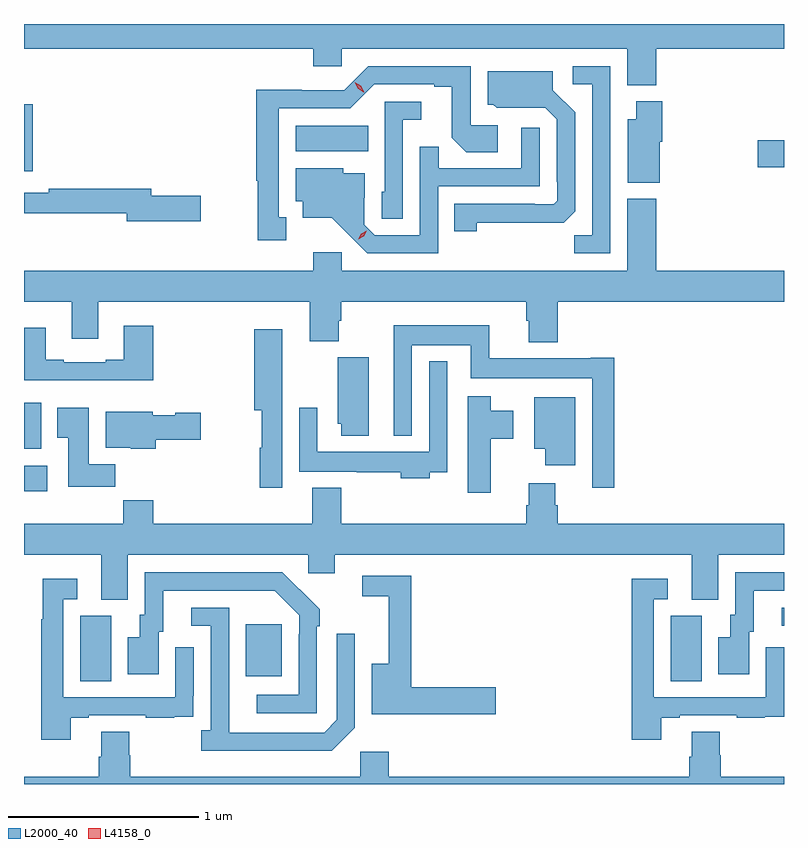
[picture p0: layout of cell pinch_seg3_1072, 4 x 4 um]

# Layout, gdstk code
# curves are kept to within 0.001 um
import gdstk
lib = gdstk.Library(unit=1e-6, precision=1e-09)
def R(c, l, rs):  # rectangles x0, y0, x1, y1
    for r in rs: c.add(gdstk.rectangle(r[:2], r[2:], *l))
def P(c, l, *ps):  # polygons
    for p in ps: c.add(gdstk.Polygon(p, *l))
L2000_40 = (2000, 40)
L4158_0 = (4158, 0)

pinch_seg3_1072 = lib.new_cell('pinch_seg3_1072')
R(pinch_seg3_1072, L2000_40, [(323.162,674.944,323.326,675.288), (326.27,674.944,326.434,675.288), (324.035,674.969,324.223,675.244), (326.856,675.234,326.867,675.33), (322.867,675.944,322.99,676.078), (322.867,676.166,322.957,676.408), (322.867,677.627,322.913,677.98), (326.73,677.648,326.867,677.79), (324.296,677.732,324.68,677.866)])
P(pinch_seg3_1072, L2000_40, [(326.195,678.272),(326.867,678.272),(326.867,678.402),(322.867,678.402),(322.867,678.272),(324.389,678.272),(324.389,678.179),(324.54,678.179),(324.54,678.272),(326.042,678.272),(326.042,678.08),(326.195,678.08)],
  [(325.953,678.18),(325.755,678.18),(325.755,678.084),(325.857,678.084),(325.857,677.291),(325.762,677.291),(325.762,677.196),(325.953,677.196)],
  [(324.247,677.385),(324.208,677.385),(324.208,677.958),(324.585,677.958),(324.711,678.084),(325.025,678.084),(325.025,678.072),(325.119,678.072),(325.119,677.804),(325.195,677.728),(325.36,677.728),(325.36,677.868),(325.218,677.868),(325.218,678.18),(324.678,678.18),(324.552,678.054),(324.33,678.054),(324.33,678.056),(324.09,678.056),(324.09,677.577),(324.097,677.577),(324.097,677.265),(324.247,677.265)],
  [(325.251,677.356),(325.708,677.357),(325.767,677.416),(325.767,677.938),(325.651,678.054),(325.651,678.154),(325.307,678.154),(325.307,677.976),(325.338,677.976),(325.354,677.96),(325.611,677.961),(325.671,677.901),(325.671,677.572),(325.674,677.572),(325.674,677.472),(325.656,677.454),(325.556,677.454),(325.556,677.457),(325.132,677.457),(325.132,677.31),(325.251,677.31)],
  [(326.212,677.781),(326.225,677.781),(326.225,677.995),(326.09,677.995),(326.09,677.902),(326.045,677.902),(326.045,677.567),(326.212,677.567)],
  [(324.861,677.897),(324.958,677.897),(324.958,677.994),(324.765,677.994),(324.765,677.52),(324.75,677.52),(324.75,677.377),(324.861,677.377)],
  [(325.047,677.547),(325.581,677.547),(325.581,677.857),(325.485,677.857),(325.485,677.643),(325.049,677.643),(325.049,677.756),(324.951,677.756),(324.951,677.289),(324.714,677.289),(324.657,677.346),(324.657,677.488),(324.661,677.488),(324.661,677.617),(324.546,677.617),(324.546,677.644),(324.296,677.644),(324.296,677.468),(324.335,677.468),(324.335,677.381),(324.487,677.381),(324.674,677.196),(325.047,677.196)],
  [(323.797,677.498),(323.536,677.498),(323.536,677.534),(322.996,677.534),(322.996,677.514),(322.867,677.514),(322.867,677.406),(323.408,677.406),(323.408,677.363),(323.797,677.363)],
  [(324.389,677.104),(322.867,677.104),(322.867,676.94),(323.117,676.94),(323.117,676.746),(323.257,676.746),(323.257,676.94),(324.371,676.94),(324.371,676.732),(324.523,676.732),(324.523,676.841),(324.536,676.841),(324.536,676.94),(325.511,676.94),(325.511,676.839),(325.523,676.839),(325.523,676.727),(325.676,676.727),(325.676,676.94),(326.867,676.94),(326.867,677.104),(326.195,677.104),(326.195,677.482),(326.042,677.482),(326.042,677.104),(324.54,677.104),(324.54,677.2),(324.389,677.2)],
  [(325.973,676.645),(325.85,676.645),(325.85,676.642),(325.316,676.642),(325.316,676.816),(324.812,676.816),(324.812,676.235),(324.909,676.235),(324.909,676.712),(325.218,676.712),(325.218,676.538),(325.857,676.538),(325.857,675.96),(325.973,675.96)],
  [(323.546,676.813),(323.393,676.813),(323.393,676.636),(323.297,676.636),(323.297,676.623),(323.077,676.623),(323.077,676.636),(322.981,676.636),(322.981,676.804),(322.867,676.804),(322.867,676.526),(323.546,676.526)],
  [(324.225,676.474),(324.226,676.474),(324.226,676.795),(324.08,676.795),(324.08,676.37),(324.117,676.37),(324.117,676.173),(324.109,676.173),(324.109,675.96),(324.225,675.96)],
  [(324.682,676.647),(324.518,676.647),(324.518,676.299),(324.536,676.299),(324.536,676.236),(324.682,676.236)],
  [(325.003,676.044),(325.095,676.044),(325.095,676.627),(324.999,676.627),(324.999,676.15),(324.411,676.15),(324.411,676.381),(324.315,676.381),(324.315,676.046),(324.619,676.046),(324.619,676.044),(324.851,676.044),(324.851,676.01),(325.003,676.01)],
  [(325.324,676.219),(325.441,676.219),(325.441,676.366),(325.324,676.366),(325.324,676.444),(325.202,676.444),(325.202,675.936),(325.324,675.936)],
  [(325.768,676.438),(325.553,676.438),(325.553,676.166),(325.61,676.166),(325.61,676.08),(325.768,676.08)],
  [(323.348,676.084),(323.209,676.084),(323.209,676.381),(323.042,676.381),(323.042,676.225),(323.099,676.225),(323.099,675.966),(323.348,675.966)],
  [(323.561,676.213),(323.797,676.213),(323.797,676.355),(323.664,676.355),(323.664,676.342),(323.544,676.342),(323.544,676.36),(323.297,676.36),(323.297,676.172),(323.43,676.172),(323.43,676.166),(323.561,676.166)],
  [(323.546,675.896),(323.389,675.896),(323.389,675.772),(322.867,675.772),(322.867,675.608),(323.273,675.608),(323.273,675.373),(323.413,675.373),(323.413,675.608),(324.363,675.608),(324.363,675.51),(324.502,675.51),(324.502,675.608),(326.381,675.608),(326.381,675.373),(326.521,675.373),(326.521,675.608),(326.867,675.608),(326.867,675.772),(325.676,675.772),(325.676,675.87),(325.663,675.87),(325.663,675.985),(325.523,675.985),(325.523,675.87),(325.511,675.87),(325.511,675.772),(324.536,675.772),(324.536,675.961),(324.383,675.961),(324.383,675.772),(323.546,675.772)],
  [(324.408,675.233),(324.423,675.233),(324.423,675.321),(324.226,675.516),(323.502,675.516),(323.502,675.294),(323.477,675.294),(323.477,675.175),(323.414,675.175),(323.414,674.979),(323.575,674.979),(323.575,675.204),(323.599,675.204),(323.599,675.42),(324.187,675.42),(324.315,675.291),(324.315,675.191),(324.312,675.191),(324.312,674.871),(324.093,674.871),(324.093,674.775),(324.408,674.775)],
  [(326.683,675.204),(326.707,675.204),(326.707,675.42),(326.867,675.42),(326.867,675.516),(326.61,675.516),(326.61,675.294),(326.585,675.294),(326.585,675.175),(326.522,675.175),(326.522,674.979),(326.683,674.979)],
  [(325.351,674.912),(324.905,674.912),(324.905,675.498),(324.648,675.498),(324.648,675.39),(324.788,675.39),(324.788,675.034),(324.698,675.034),(324.698,674.77),(325.351,674.77)],
  [(326.221,674.751),(326.317,674.751),(326.317,674.763),(326.617,674.763),(326.617,674.751),(326.765,674.751),(326.765,674.757),(326.867,674.757),(326.867,675.121),(326.772,675.121),(326.772,674.859),(326.181,674.859),(326.181,675.375),(326.254,675.375),(326.254,675.481),(326.065,675.481),(326.065,674.634),(326.221,674.634)],
  [(323.113,674.751),(323.209,674.751),(323.209,674.763),(323.509,674.763),(323.509,674.751),(323.657,674.751),(323.657,674.757),(323.759,674.757),(323.759,674.866),(323.76,674.866),(323.76,675.121),(323.664,675.121),(323.664,674.859),(323.073,674.859),(323.073,675.375),(323.146,675.375),(323.146,675.481),(322.965,675.481),(322.965,675.268),(322.957,675.268),(322.957,674.634),(323.113,674.634)],
  [(324.609,674.697),(324.609,675.193),(324.513,675.193),(324.513,674.739),(324.447,674.673),(323.947,674.673),(323.946,675.33),(323.748,675.33),(323.748,675.234),(323.85,675.234),(323.85,674.686),(323.799,674.686),(323.799,674.576),(324.488,674.576)],
  [(324.788,674.572),(324.636,674.572),(324.636,674.44),(323.426,674.44),(323.426,674.553),(323.421,674.553),(323.421,674.678),(323.273,674.678),(323.273,674.546),(323.261,674.546),(323.261,674.44),(322.867,674.44),(322.867,674.402),(326.867,674.402),(326.867,674.44),(326.534,674.44),(326.534,674.553),(326.529,674.553),(326.529,674.678),(326.381,674.678),(326.381,674.546),(326.369,674.546),(326.369,674.44),(324.788,674.44)])
P(pinch_seg3_1072, L4158_0, [(324.625,677.268),(324.625,677.269),(324.642,677.298),(324.672,677.314),(324.672,677.314),(324.672,677.313),(324.656,677.284),(324.625,677.268)],
  [(324.656,678.043),(324.625,678.062),(324.608,678.095),(324.608,678.095),(324.608,678.095),(324.64,678.076),(324.657,678.043),(324.657,678.043)])

lib.write_gds('pinch_seg3_1072.gds')
